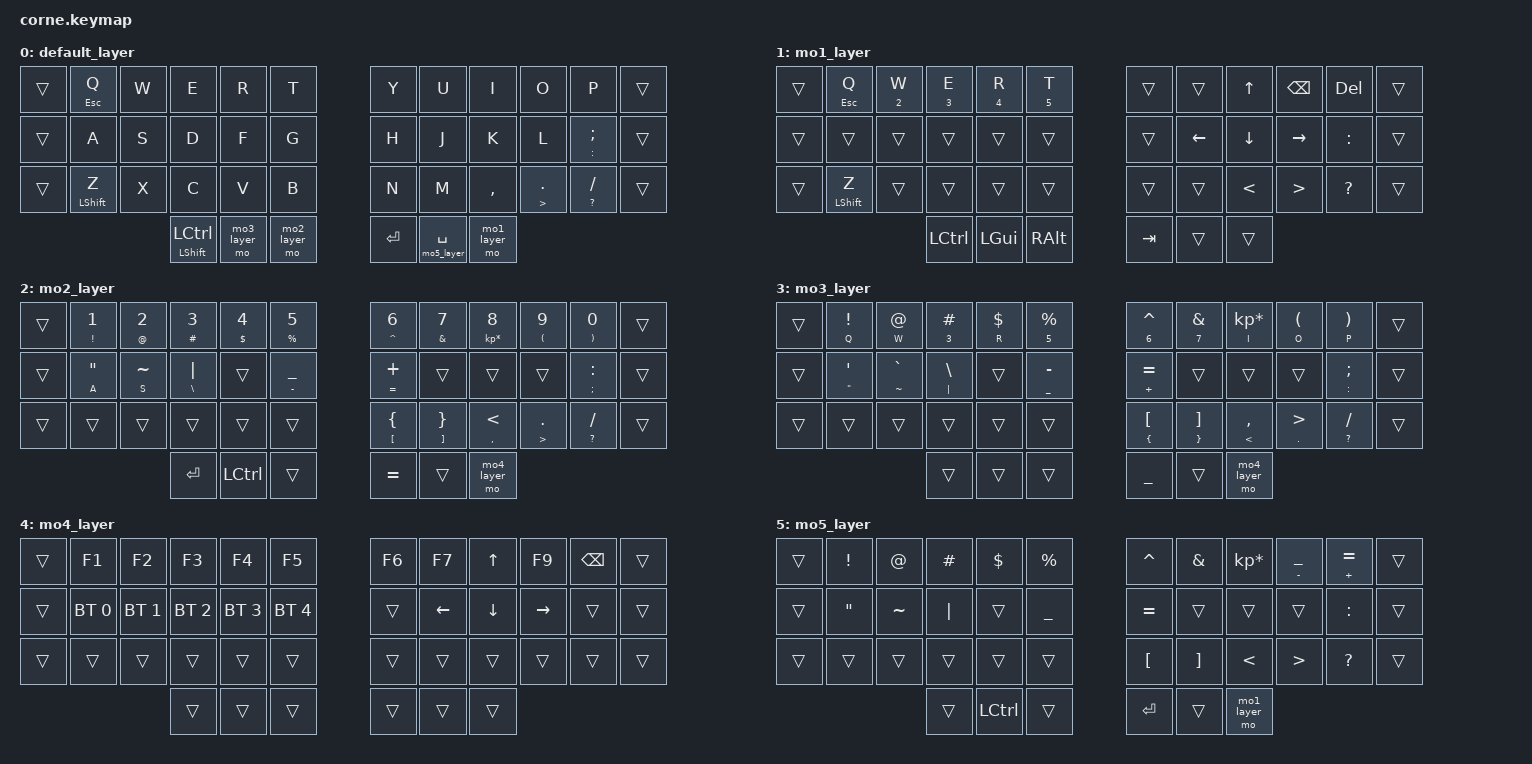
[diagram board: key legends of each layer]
/*
 * Copyright (c) 2020 The ZMK Contributors
 *
 * SPDX-License-Identifier: MIT
 * Additional : 2nd layer - Enter Row and double quotation fixed 
 */

#include <behaviors.dtsi>
#include <dt-bindings/zmk/keys.h>
#include <dt-bindings/zmk/bt.h>

#define DEFAULT 0
#define mo1_layer   1
#define mo2_layer   2
#define mo3_layer   3
#define mo4_layer   4
#define mo5_layer   5


&mt {
    tapping-term-ms = <200>;
};

/ {
        keymap {
                compatible = "zmk,keymap";

                default_layer {

                                
  


// Layer 0 -----------------------------------------------------------------------------------------
//         Q   [ESC]   |  W [@]         |  E [#]          |  R  [$]            |  T   [%]       |  Y    [^]           |  U [&]          |  I   [*]               |  O [(]          |  P  [)]
 

//             A [']        |  S [~]          |  D [|]              |  F     |  G [_]          |   |  H [=]          |  J     |  K       |  L      |  ;  [:]
 

//           Z             |  X          |  C          |  V          |  B          |   |  N   "["       |  M  "]"         |  ,   [<]            |  .    [>]          |  /  [?]


//              | Shift [Caps]         | MO3 |                 MO2 |                   | ENT                 | SPC                          | MO1 |

                        bindings = <

&trans      &mt ESC Q         &kp  W         &kp  E          &kp  R         &kp T       &kp  Y           &kp  U          &kp  I      &kp O         &kp P           &trans
&trans      &kp A         &kp  S         &kp  D         &kp F     &kp G           &kp  H      &kp J    &kp K      &kp L     &mt COLON SEMI        &trans
&trans      &mt LSHIFT Z     &kp X         &kp C         &kp V         &kp B             &kp N         &kp M         &kp COMMA         &mt GT DOT         &mt QMARK FSLH        &trans
                  &mt LSHFT LCTRL        &mo mo3_layer         &mo mo2_layer           &kp RET                 &lt mo5_layer SPACE         &mo mo1_layer
                        >;
                };





                mo1_layer {


// Layer 1 -----------------------------------------------------------------------------------------
//   ESC|  W  |  E  |  R  |  T  |   |  Y  |  U   |  UP  |  BCKSPC  |  DEL  
//   A  |  S  |  D  |  F  |  G  |   |  H  | LFT  |  DWN | RGT |  :   
//   Z  |  X  |  C  |  V  |  B  |   |  N  |  M   |  <  |  >  |  ?   
//                    | CTRL |  GUI [OS Key]  | ALT |   | TAB |  SPC   | MO1  |


                        bindings = <
   &trans &mt ESC Q      &mt N2 W         &mt N3 E          &mt N4 R         &mt N5 T          &trans   &trans          &kp UP         &kp BSPC          &kp DEL        &trans
   &trans &trans       &trans       &trans       &trans       &trans         &trans   &kp LEFT        &kp DOWN       &kp RIGHT       &kp COLON        &trans
   &trans &mt LSHIFT Z       &trans       &trans       &trans       &trans         &trans   &trans          &kp LT         &kp GT          &kp QMARK        &trans 
                          	 &kp LCTRL     &kp LGUI       &kp RALT             &kp TAB         &trans   &trans 
                        >;
                };






                mo2_layer {


// Layer 2 -----------------------------------------------------------------------------------------
//   ! [1] |  @  |  #  |  $  |  %  |   |  ^  |  &  |  *  |  (  |  )  | 
//   "  |  ~  | "|" |     |  -  |   |  +  |     |     |     |  :  |  
//      |     |     |     |     |   |  {  |  }  |  <  |  >  |  /  |  
//                    | Shift   |  CTR   | [MO2] |   | = |  SPC  | MO4 |


                        bindings = <
&trans &mt EXCL N1       &mt AT N2       &mt HASH N3       &mt DLLR N4       &mt PRCNT N5         &mt CARET N6           &mt AMPS N7           &mt KP_MULTIPLY N8        &mt LPAR N9    &mt RPAR N0        &trans  
 &trans &mt A DQT        &mt S TILDE      &mt BSLH PIPE         &trans           &mt MINUS UNDER          &mt EQUAL PLUS          &trans        &trans                 &trans        &mt SEMI COLON        &trans
   &trans &trans          &trans         &trans           &trans           &trans              &mt LBKT LBRC          &mt RBKT RBRC      &mt COMMA LT                 &mt GT DOT        &mt QMARK FSLH         &trans
                    	    &kp RET  &kp LCTRL    &trans   &kp EQUAL  &trans  &mo mo4_layer
                        >;
                };






                mo3_layer {


// Layer 1 -----------------------------------------------------------------------------------------
//   1  |  2  |  3  |  4  |  5  |   |  6  |  7  |  8  |  9  |  0  | 
//   '  |  `  |  \  |     |  _  |   |  =  |     |     |     |  ;  |  
//      |     |     |     |     |   |  [  |  ]  |  ,  |  .  |  /  |  
//                    | Shift | [mo3]  | mo2 |   | _ |     | MO4 |


                        bindings = <
   
 &trans &mt Q EXCL        &mt W AT         &mt N3 HASH         &mt R DLLR         &mt N5 PRCNT           &mt N6 CARET         &mt N7 AMPS      &mt I KP_MULTIPLY        &mt O LPAR      &mt P RPAR        &trans   
   &trans &mt DQT SQT      &mt TILDE GRAVE    &mt PIPE BSLH     &trans       &mt UNDER MINUS    &mt PLUS EQUAL        &trans           &trans        &trans    &mt COLON SEMI        &trans
   &trans &trans       &trans       &trans       &trans       &trans         &mt LBRC LBKT         &mt RBRC RBKT         &mt LT COMMA     &mt DOT GT   &mt QMARK FSLH        &trans
                          	       &trans      &trans       &trans       &kp UNDER   &trans   &mo mo4_layer
                        >;
                };




                mo4_layer {


// Layer 1 -----------------------------------------------------------------------------------------
//   F1  |  F2  |  F3  |  F4  |  F5  |   |  F6  |  F7  |  F8  |  F9  |  BSPC  | 
//  BT1 | BT2 | BT3 | BT4 | BT5 |   |     |     |     |     |       |   
//      |     |     |     |     |   |     |     |     |     |       |   
//                    | [Shift] |   |    |  |     |  |


                        bindings = <
   &trans &kp F1         &kp F2               &kp F3             &kp F4           &kp F5               &kp F6   &kp F7   &kp UP       &kp F9    &kp BSPC        &trans
   &trans &bt BT_SEL 0   &bt BT_SEL 1         &bt BT_SEL 2       &bt BT_SEL 3    &bt BT_SEL 4         &trans   &kp LEFT   &kp DOWN       &kp RIGHT    &trans        &trans
   &trans &trans               &trans               &trans               &trans            &trans               &trans   &trans   &trans       &trans    &trans         &trans
                          	        &trans     &trans       &trans      &trans  &trans   &trans
                        >;
                };



           mo5_layer {


// Layer 4 -----------------------------------------------------------------------------------------
//   !  |  @  |  #  |  $  |  %  |   |  ^  |  &  |  *  |  _  |  =  | 
//   "  |  ~  | "|" |     |  _  |   |  =  |     |     |     |  :  |  
//      |     |     |     |     |   |  [  |  ]  |  <  |  >  |  ?  |  
//                    | Shift   |  CTR   | [MO2] |   | ENT |  SPC  | MO5 |


                        bindings = <
   &trans &kp EXCL        &kp AT         &kp HASH         &kp DLLR         &kp PRCNT           &kp CARET         &kp AMPS      &kp KP_MULTIPLY        &mt MINUS UNDER          &mt PLUS EQUAL        &trans 
   &trans &kp DQT        &kp TILDE      &kp PIPE         &trans           &kp UNDER           &kp EQUAL          &trans        &trans                 &trans        &kp COLON        &trans
   &trans &trans          &trans         &trans           &trans           &trans              &kp LBKT         &kp RBKT      &kp LT                 &kp GT        &kp QMARK         &trans
                    	    &trans  &kp LCTRL    &trans   &kp RET  &trans  &mo mo1_layer
                        >;
                };

        };
};
